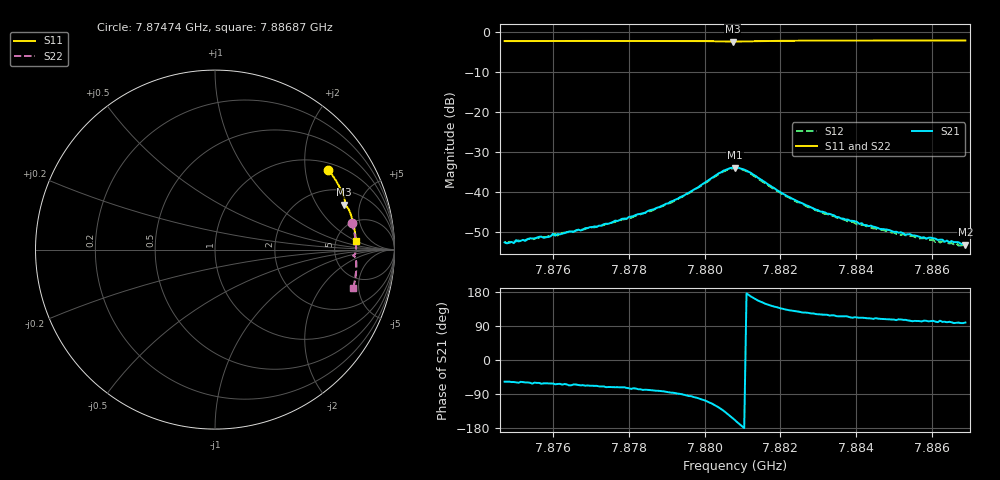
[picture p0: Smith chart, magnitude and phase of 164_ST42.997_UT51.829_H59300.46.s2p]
#  HZ  S  DB  R  50.00
! Rohde & Schwarz Vector Network Analyzer
! Rohde-Schwarz,ZNB20-2Port,1311601062101988,3.16
! Created: UTC 1/12/2023, 6:41:31 PM
! freq[Hz]  db:S11  ang:S11  db:S21  ang:S21  db:S12  ang:S12  db:S22  ang:S22
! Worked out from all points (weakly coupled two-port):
!   201 points, 7.87474 GHz to 7.88687 GHz, reference 50 ohm
!   highest |S21| = -33.87 dB at 7.8808 GHz (marker M1); lowest = -53.2 dB at 7.88687 GHz (marker M2)
!   lowest |S11| = -2.4 dB at 7.88074 GHz (marker M3), VSWR 7.41, Z = 149 + j177 ohm
!   |S11| at or under -10 dB: nowhere
!   |S22| runs from -2.3 to -1.9 dB; largest |S21 - S12| = 0.0013
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7.874737e9  -2.24 35.2  -52.61 -57.1  -52.48 -61.2  -2.19 11.2
7.87498e9  -2.24 34.5  -52.80 -58.1  -52.36 -62.1  -2.17 10.6
7.87504e9  -2.24 34.3  -52.06 -59.0  -52.37 -60.8  -2.17 10.5
7.875283e9  -2.23 33.7  -52.19 -59.2  -52.11 -64.5  -2.17 9.8
7.875708e9  -2.22 32.5  -51.18 -62.7  -51.63 -64.9  -2.15 8.9
7.876799e9  -2.21 29.5  -49.42 -66.3  -49.38 -70.1  -2.12 6.3
7.878073e9  -2.19 26.0  -46.16 -76.3  -46.45 -77.7  -2.09 3.3
7.878801e9  -2.19 24.0  -43.81 -81.4  -43.86 -84.8  -2.08 1.6
7.879589e9  -2.21 21.8  -40.15 -95.1  -40.33 -97.7  -2.10 -0.3
7.880499e9  -2.32 19.4  -34.67 -133.7  -34.88 -137.4  -2.22 -2.4
7.880742e9  -2.36 19.2  -33.92 -153.5  -34.11 -157.0  -2.26 -2.5
7.880803e9  -2.35 19.1  -33.87 -158.7  -34.03 -162.3  -2.26 -2.5
7.881106e9  -2.31 18.9  -34.66 175.7  -34.80 172.5  -2.22 -2.5
7.882137e9  -2.17 16.2  -40.81 133.1  -41.06 130.6  -2.05 -4.7
7.882865e9  -2.14 14.2  -44.11 123.0  -44.20 119.8  -2.02 -6.5
7.884017e9  -2.12 11.1  -47.52 112.4  -48.12 109.5  -1.98 -9.1
7.884866e9  -2.11 8.8  -49.54 107.5  -49.94 104.7  -1.97 -11.0
7.885837e9  -2.09 6.3  -51.73 103.4  -51.53 98.6  -1.95 -13.1
7.886079e9  -2.09 5.6  -51.67 101.4  -52.53 97.3  -1.95 -13.6
7.886625e9  -2.09 4.2  -52.54 98.0  -52.74 97.1  -1.96 -14.8
7.886686e9  -2.09 4.1  -52.58 98.8  -53.40 95.8  -1.95 -14.9
7.886868e9  -2.08 3.6  -53.20 98.9  -53.56 94.4  -1.95 -15.3
